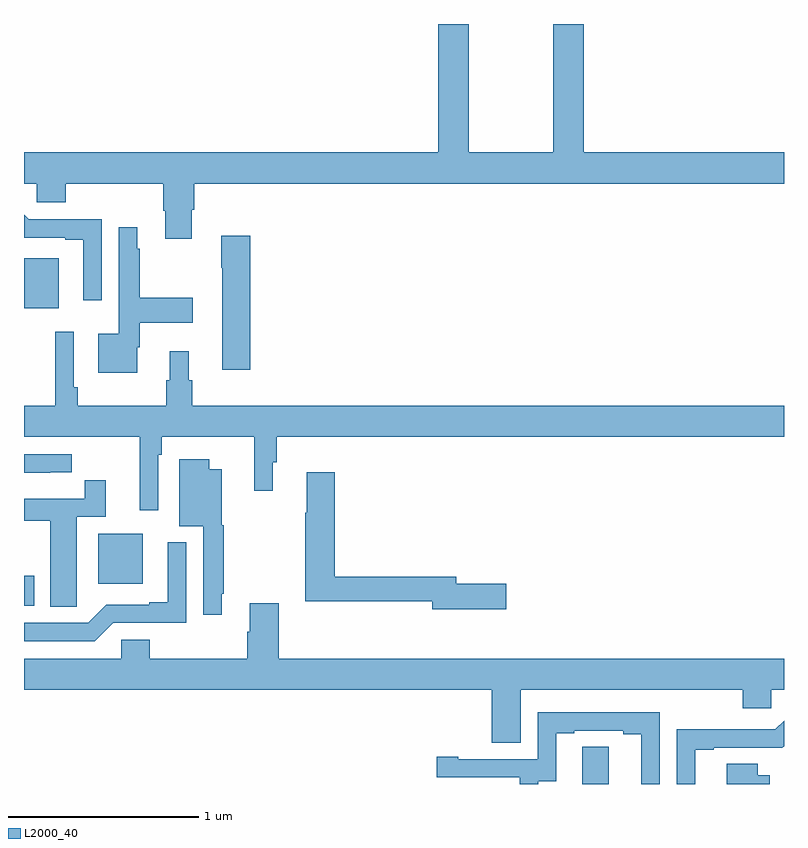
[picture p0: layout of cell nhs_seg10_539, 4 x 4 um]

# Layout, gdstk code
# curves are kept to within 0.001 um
import gdstk
lib = gdstk.Library(unit=1e-6, precision=1e-09)
def R(c, l, rs):  # rectangles x0, y0, x1, y1
    for r in rs: c.add(gdstk.rectangle(r[:2], r[2:], *l))
def P(c, l, *ps):  # polygons
    for p in ps: c.add(gdstk.Polygon(p, *l))
L2000_40 = (2000, 40)

nhs_seg10_539 = lib.new_cell('nhs_seg10_539')
R(nhs_seg10_539, L2000_40, [(137,1287.437,137.053,1287.597), (137.39,1287.554,137.626,1287.817), (137,1289.003,137.182,1289.266)])
P(nhs_seg10_539, L2000_40, [(137.884,1289.523),(137.897,1289.523),(137.897,1289.66),(141,1289.66),(141,1289.824),(139.946,1289.824),(139.946,1290.5),(139.786,1290.5),(139.786,1289.824),(139.341,1289.824),(139.341,1290.5),(139.181,1290.5),(139.181,1289.824),(137,1289.824),(137,1289.66),(137.067,1289.66),(137.067,1289.562),(137.219,1289.562),(137.219,1289.66),(137.732,1289.66),(137.732,1289.518),(137.744,1289.518),(137.744,1289.37),(137.884,1289.37)],
  [(137.409,1289.472),(137.025,1289.472),(137,1289.497),(137,1289.376),(137.216,1289.376),(137.216,1289.364),(137.312,1289.364),(137.312,1289.046),(137.409,1289.046)],
  [(137.596,1288.8),(137.608,1288.8),(137.608,1288.928),(137.887,1288.928),(137.887,1289.058),(137.608,1289.058),(137.608,1289.318),(137.596,1289.318),(137.596,1289.431),(137.499,1289.431),(137.499,1288.87),(137.39,1288.87),(137.39,1288.664),(137.596,1288.664)],
  [(138.191,1289.386),(138.037,1289.386),(138.037,1289.216),(138.044,1289.216),(138.044,1288.68),(138.191,1288.68)],
  [(137.706,1288.232),(137.726,1288.232),(137.726,1288.328),(138.211,1288.328),(138.211,1288.044),(138.31,1288.044),(138.31,1288.194),(138.329,1288.194),(138.329,1288.328),(141,1288.328),(141,1288.492),(137.885,1288.492),(137.885,1288.626),(137.866,1288.626),(137.866,1288.777),(137.768,1288.777),(137.768,1288.626),(137.749,1288.626),(137.749,1288.492),(137.282,1288.492),(137.282,1288.588),(137.262,1288.588),(137.262,1288.879),(137.165,1288.879),(137.165,1288.492),(137,1288.492),(137,1288.328),(137.609,1288.328),(137.609,1287.942),(137.706,1287.942)],
  [(137.138,1288.14),(137.251,1288.14),(137.251,1288.236),(137,1288.236),(137,1288.139),(137.138,1288.139)],
  [(138.04,1287.502),(138.052,1287.502),(138.052,1287.861),(138.04,1287.861),(138.04,1288.156),(137.974,1288.156),(137.974,1288.21),(137.816,1288.21),(137.816,1287.857),(137.943,1287.857),(137.943,1287.39),(138.04,1287.39)],
  [(139.537,1287.554),(139.276,1287.554),(139.276,1287.59),(138.635,1287.59),(138.635,1288.141),(138.488,1288.141),(138.488,1287.928),(138.481,1287.928),(138.481,1287.462),(139.148,1287.462),(139.148,1287.419),(139.537,1287.419)],
  [(137.277,1287.544),(137.278,1287.544),(137.278,1287.906),(137.429,1287.906),(137.429,1288.099),(137.32,1288.099),(137.32,1288.002),(137,1288.002),(137,1287.886),(137.138,1287.886),(137.138,1287.433),(137.277,1287.433)],
  [(137.469,1287.348),(137.853,1287.348),(137.853,1287.772),(137.756,1287.772),(137.756,1287.457),(137.66,1287.457),(137.66,1287.444),(137.433,1287.444),(137.337,1287.348),(137,1287.348),(137,1287.252),(137.373,1287.252)],
  [(139.615,1286.996),(140.783,1286.996),(140.783,1286.898),(140.934,1286.898),(140.934,1286.996),(141,1286.996),(141,1287.16),(138.341,1287.16),(138.341,1287.451),(138.188,1287.451),(138.188,1287.302),(138.176,1287.302),(138.176,1287.16),(137.663,1287.16),(137.663,1287.258),(137.511,1287.258),(137.511,1287.16),(137,1287.16),(137,1286.996),(139.463,1286.996),(139.463,1286.716),(139.615,1286.716)],
  [(139.707,1286.515),(139.801,1286.515),(139.801,1286.766),(139.897,1286.766),(139.897,1286.781),(140.153,1286.781),(140.153,1286.761),(140.249,1286.761),(140.249,1286.5),(140.346,1286.5),(140.346,1286.877),(139.704,1286.877),(139.704,1286.631),(139.285,1286.631),(139.285,1286.644),(139.173,1286.644),(139.173,1286.535),(139.608,1286.535),(139.608,1286.5),(139.707,1286.5)],
  [(140.533,1286.679),(140.629,1286.679),(140.629,1286.691),(140.99,1286.69),(141,1286.7),(141,1286.832),(140.955,1286.787),(140.699,1286.787),(140.699,1286.789),(140.436,1286.789),(140.436,1286.5),(140.533,1286.5)],
  [(140.077,1286.696),(139.938,1286.696),(139.938,1286.588),(139.937,1286.588),(139.937,1286.5),(140.077,1286.5)],
  [(140.926,1286.545),(140.863,1286.545),(140.863,1286.606),(140.699,1286.606),(140.699,1286.5),(140.926,1286.5)])

lib.write_gds('nhs_seg10_539.gds')
